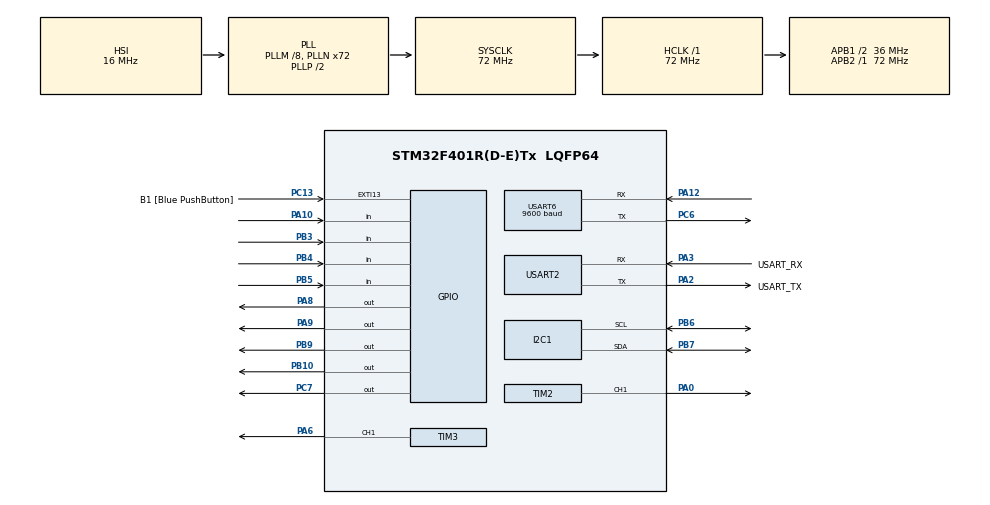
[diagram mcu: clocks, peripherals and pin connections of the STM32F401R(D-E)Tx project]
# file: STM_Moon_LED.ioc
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Dma.Request0=TIM2_CH1
Dma.Request1=TIM3_CH1/TRIG
Dma.TIM2_CH1.0.Direction=DMA_MEMORY_TO_PERIPH
Dma.TIM2_CH1.0.FIFOMode=DMA_FIFOMODE_DISABLE
Dma.TIM2_CH1.0.Instance=DMA1_Stream5
Dma.TIM2_CH1.0.MemDataAlignment=DMA_MDATAALIGN_WORD
Dma.TIM2_CH1.0.MemInc=DMA_MINC_ENABLE
Dma.TIM2_CH1.0.Mode=DMA_CIRCULAR
Dma.TIM2_CH1.0.PeriphDataAlignment=DMA_PDATAALIGN_WORD
Dma.TIM2_CH1.0.PeriphInc=DMA_PINC_DISABLE
Dma.TIM2_CH1.0.Priority=DMA_PRIORITY_LOW
Dma.TIM3_CH1/TRIG.1.Direction=DMA_MEMORY_TO_PERIPH
Dma.TIM3_CH1/TRIG.1.FIFOMode=DMA_FIFOMODE_DISABLE
Dma.TIM3_CH1/TRIG.1.Instance=DMA1_Stream4
Dma.TIM3_CH1/TRIG.1.MemDataAlignment=DMA_MDATAALIGN_WORD
Dma.TIM3_CH1/TRIG.1.MemInc=DMA_MINC_ENABLE
Dma.TIM3_CH1/TRIG.1.Mode=DMA_CIRCULAR
Dma.TIM3_CH1/TRIG.1.PeriphDataAlignment=DMA_PDATAALIGN_WORD
Dma.TIM3_CH1/TRIG.1.PeriphInc=DMA_PINC_DISABLE
Dma.TIM3_CH1/TRIG.1.Priority=DMA_PRIORITY_LOW
Mcu.Family=STM32F4
Mcu.Name=STM32F401R(D-E)Tx
Mcu.Package=LQFP64
NVIC.DMA1_Stream4_IRQn=true\:0\:0\:false\:false\:true\:false\:true
NVIC.DMA1_Stream5_IRQn=true\:0\:0\:false\:false\:true\:false\:true
NVIC.EXTI15_10_IRQn=true\:0\:0\:false\:false\:true\:true\:true
NVIC.FPU_IRQn=true\:0\:0\:false\:false\:true\:true\:false
NVIC.PriorityGroup=NVIC_PRIORITYGROUP_0
NVIC.TIM2_IRQn=true\:0\:0\:false\:false\:true\:true\:true
NVIC.USART6_IRQn=true\:0\:0\:false\:false\:true\:true\:true
PA0-WKUP.Signal=S_TIM2_CH1_ETR
PA10.GPIO_PuPd=GPIO_PULLUP
PA10.Signal=GPIO_Input
PA12.GPIO_PuPd=GPIO_NOPULL
PA12.GPIO_Speed=GPIO_SPEED_FREQ_MEDIUM
PA12.Mode=Asynchronous
PA12.Signal=USART6_RX
PA13.GPIO_Label=TMS
PA13.Mode=Serial_Wire
PA13.Signal=SYS_JTMS-SWDIO
PA14.GPIO_Label=TCK
PA14.Mode=Serial_Wire
PA14.Signal=SYS_JTCK-SWCLK
PA2.GPIO_Label=USART_TX
PA2.GPIO_Mode=GPIO_MODE_AF_PP
PA2.GPIO_PuPd=GPIO_NOPULL
PA2.GPIO_Speed=GPIO_SPEED_FREQ_LOW
PA2.Mode=Asynchronous
PA2.Signal=USART2_TX
PA3.GPIO_Label=USART_RX
PA3.GPIO_Mode=GPIO_MODE_AF_PP
PA3.GPIO_PuPd=GPIO_NOPULL
PA3.GPIO_Speed=GPIO_SPEED_FREQ_LOW
PA3.Mode=Asynchronous
PA3.Signal=USART2_RX
PA6.Signal=S_TIM3_CH1
PA8.Signal=GPIO_Output
PA9.Signal=GPIO_Output
PB10.Signal=GPIO_Output
PB3.GPIO_PuPd=GPIO_PULLUP
PB3.Signal=GPIO_Input
PB4.GPIO_PuPd=GPIO_PULLUP
PB4.Signal=GPIO_Input
PB5.GPIO_PuPd=GPIO_PULLUP
PB5.Signal=GPIO_Input
PB6.GPIO_Pu=GPIO_PULLUP
PB6.Mode=I2C
PB6.Signal=I2C1_SCL
PB7.GPIO_Pu=GPIO_PULLUP
PB7.Mode=I2C
PB7.Signal=I2C1_SDA
PB9.Signal=GPIO_Output
PC13-ANTI_TAMP.GPIO_Label=B1 [Blue PushButton]
PC13-ANTI_TAMP.GPIO_ModeDefaultEXTI=GPIO_MODE_IT_FALLING
PC13-ANTI_TAMP.GPIO_PuPd=GPIO_NOPULL
PC13-ANTI_TAMP.Signal=GPXTI13
PC14-OSC32_IN.Mode=LSE-External-Oscillator
PC14-OSC32_IN.Signal=RCC_OSC32_IN
PC15-OSC32_OUT.Mode=LSE-External-Oscillator
PC15-OSC32_OUT.Signal=RCC_OSC32_OUT
PC6.GPIO_Speed=GPIO_SPEED_FREQ_MEDIUM
PC6.Mode=Asynchronous
PC6.Signal=USART6_TX
PC7.Signal=GPIO_Output
PH0\ -\ OSC_IN.Mode=HSE-External-Clock-Source
PH0\ -\ OSC_IN.Signal=RCC_OSC_IN
PH1\ -\ OSC_OUT.Mode=HSE-External-Clock-Source
PH1\ -\ OSC_OUT.Signal=RCC_OSC_OUT
ProjectManager.HeapSize=0x200
ProjectManager.StackSize=0x400
ProjectManager.TargetToolchain=STM32CubeIDE
RCC.48MHZClocksFreq_Value=20571428.57142857
RCC.AHBFreq_Value=72000000
RCC.APB1CLKDivider=RCC_HCLK_DIV2
RCC.APB1Freq_Value=36000000
RCC.APB1TimFreq_Value=72000000
RCC.APB2Freq_Value=72000000
RCC.APB2TimFreq_Value=72000000
RCC.CortexFreq_Value=72000000
RCC.HCLKFreq_Value=72000000
RCC.HSE_VALUE=8000000
RCC.HSI_VALUE=16000000
RCC.PLLM=8
RCC.PLLN=72
RCC.PLLQ=7
RCC.SYSCLKFreq_VALUE=72000000
RCC.SYSCLKSource=RCC_SYSCLKSOURCE_PLLCLK
RCC.VCOOutputFreq_Value=144000000
SH.S_TIM2_CH1_ETR.0=TIM2_CH1,PWM Generation1 CH1
SH.S_TIM3_CH1.0=TIM3_CH1,PWM Generation1 CH1
TIM2.AutoReloadPreload=TIM_AUTORELOAD_PRELOAD_ENABLE
TIM2.Channel-PWM\ Generation1\ CH1=TIM_CHANNEL_1
TIM2.Period=90-1
TIM2.Prescaler=1-1
TIM2.Pulse-PWM\ Generation1\ CH1=1
TIM3.AutoReloadPreload=TIM_AUTORELOAD_PRELOAD_ENABLE
TIM3.Channel-PWM\ Generation1\ CH1=TIM_CHANNEL_1
TIM3.Period=90-1
TIM3.Prescaler=1-1
TIM3.Pulse-PWM\ Generation1\ CH1=1
USART2.VirtualMode=VM_ASYNC
USART6.BaudRate=9600
USART6.VirtualMode=VM_ASYNC
VP_TIM2_VS_ClockSourceINT.Mode=Internal
VP_TIM3_VS_ClockSourceINT.Mode=Internal
board=NUCLEO-F401RE

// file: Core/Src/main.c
/* USER CODE BEGIN Header */
/**
  ******************************************************************************
  * @file           : main.c
  * @brief          : Main program body
  ******************************************************************************
  * @attention
  *
  * <h2><center>&copy; Copyright (c) 2021 STMicroelectronics.
  * All rights reserved.</center></h2>
  *
  * This software component is licensed by ST under BSD 3-Clause license,
  * the "License"; You may not use this file except in compliance with the
  * License. You may obtain a copy of the License at:
  *                        opensource.org/licenses/BSD-3-Clause
  *
  ******************************************************************************
  */
/* USER CODE END Header */
#include "main.h"
#include "dma.h"
#include "i2c.h"
#include "tim.h"
#include "usart.h"
#include "gpio.h"

/* USER CODE BEGIN Includes */
#include "stdbool.h"
#include "keypad.h"
#include "LED.h"
#include "lcd16x2_i2c.h"

/* USER CODE END Includes */

/* USER CODE BEGIN PV */
bool BLUE_BUTTON = false;
/* USER CODE END PV */

void SystemClock_Config(void);

/* USER CODE BEGIN 0 */

// *******************************************************************
// 					TUTORIAL CODE
// *******************************************************************

// When DMA finishes a send triggers a flag and stops the data transfer
void HAL_TIM_PWM_PulseFinishedCallback(TIM_HandleTypeDef *htim){

	if(htim == &htim2){
		HAL_TIM_PWM_Stop_DMA(&htim2, TIM_CHANNEL_1);
	}

	if(htim == &htim3){
		HAL_TIM_PWM_Stop_DMA(&htim3, TIM_CHANNEL_1);
	}

	datasentflag = 1;
}

/* USER CODE END 0 */

int main(void)
{

  /* MCU Configuration--------------------------------------------------------*/

  /* Reset of all peripherals, Initializes the Flash interface and the Systick. */
  HAL_Init();

  /* Configure the system clock */
  SystemClock_Config();

  /* Initialize all configured peripherals */
  MX_GPIO_Init();
  MX_DMA_Init();
  MX_USART2_UART_Init();
  MX_TIM2_Init();
  MX_I2C1_Init();
  MX_TIM3_Init();
  MX_USART6_UART_Init();
  /* USER CODE BEGIN 2 */

  // *********************************************
  // 			LCD initialization
  // *********************************************
  if(lcd16x2_i2c_init(&hi2c1)){
    HAL_GPIO_WritePin(GPIOA, GPIO_PIN_5, GPIO_PIN_SET);
  }
  lcd16x2_i2c_clear();
  lcd16x2_i2c_2ndLine();
  lcd16x2_i2c_clear();
  lcd16x2_i2c_printf("      RESET       ");

  HAL_Delay(1000);

  // Enable HC 05 bluetooth module
  HAL_GPIO_WritePin(GPIOB, GPIO_PIN_9, GPIO_PIN_SET);

  // enable interrupt for the UART
  HAL_UART_Receive_IT(&huart6, buffer, 600);

  // Welcome message
  lcd16x2_i2c_clear();
  lcd16x2_i2c_2ndLine();
  lcd16x2_i2c_clear();
  lcd16x2_i2c_printf("><>   FISH   <><");
  lcd16x2_i2c_2ndLine();
  lcd16x2_i2c_printf("===   BOARD  ===");

  // Struct definition
  Problem p;			    			// struct that contains the info related to the problem
  uint32_t problemID = 0;				// ID that reppresents the number of the problem

  /* USER CODE END 2 */

  /* Infinite loop */
  /* USER CODE BEGIN WHILE */
  while (1)
  {

	  // If the blue button is pressed
	  if(BLUE_BUTTON){
		  lcd16x2_i2c_clear();							// clear the LCD display

		  problemID = keypad_getNumber();				// Listen for the key pressed on the keypad

		  if(problemID==10000){		// If pressed button is disco mode

			  DISCO_FLAG = 1;

		  }else{								// Otherwise search correct problem

			  problem_fetch(&p,problemID);		// Update the struct with teh info from the ID

			  problem_genArray(&p);				// Generate a matrix containing colors for each LED according to problem

			  // Display on led boulder info
			  lcd16x2_i2c_clear();
			  lcd16x2_i2c_printf("Name:");
			  lcd16x2_i2c_printf(p.name);
			  lcd16x2_i2c_2ndLine();
			  lcd16x2_i2c_printf("Grad:");
			  lcd16x2_i2c_printf(p.grade);

			  WS2811_Send();					// Sends to LED strip signal

			  BLUE_BUTTON = false;				// Reset blue button flag
		  }
	  }

		// If the message is received from bluetooth
	 if(BLUETOOTH_FLAG==1){

		 if(buffer[0]=='D' && buffer[1]=='I' && buffer[2]=='S' && buffer[3]=='C' && buffer[4]=='O'){
			 //DISCO_FLAG     = 1;
			 //BLUETOOTH_FLAG = 0;
		 }else{
			 MessageHandler(&p);					// Save in the struct the correct values from the string received

			 problem_genArray(&p);				// Generate matrix of color values from problem

			 WS2811_Send();						// Send PWM to LEDs

			 // Display on led boulder info
			 lcd16x2_i2c_clear();
			 lcd16x2_i2c_2ndLine();
			 lcd16x2_i2c_clear();
			 lcd16x2_i2c_printf("Name:");
			 lcd16x2_i2c_printf(p.name);
			 lcd16x2_i2c_2ndLine();
			 lcd16x2_i2c_printf("Grad:");
			 lcd16x2_i2c_printf(p.grade);

			 BLUETOOTH_FLAG=0;					// Reset bluetooth flag in order to receive again
		 }
	 }

	 if(DISCO_FLAG==1){
		 //LED_discoMode();
	 }

    /* USER CODE END WHILE */

  }
}

void SystemClock_Config(void)
{
  RCC_OscInitTypeDef RCC_OscInitStruct = {0};
  RCC_ClkInitTypeDef RCC_ClkInitStruct = {0};

  /** Configure the main internal regulator output voltage
  */
  __HAL_RCC_PWR_CLK_ENABLE();
  __HAL_PWR_VOLTAGESCALING_CONFIG(PWR_REGULATOR_VOLTAGE_SCALE2);
  /** Initializes the RCC Oscillators according to the specified parameters
  * in the RCC_OscInitTypeDef structure.
  */
  RCC_OscInitStruct.OscillatorType = RCC_OSCILLATORTYPE_HSI;
  RCC_OscInitStruct.HSIState = RCC_HSI_ON;
  RCC_OscInitStruct.HSICalibrationValue = RCC_HSICALIBRATION_DEFAULT;
  RCC_OscInitStruct.PLL.PLLState = RCC_PLL_ON;
  RCC_OscInitStruct.PLL.PLLSource = RCC_PLLSOURCE_HSI;
  RCC_OscInitStruct.PLL.PLLM = 8;
  RCC_OscInitStruct.PLL.PLLN = 72;
  RCC_OscInitStruct.PLL.PLLP = RCC_PLLP_DIV2;
  RCC_OscInitStruct.PLL.PLLQ = 7;
  if (HAL_RCC_OscConfig(&RCC_OscInitStruct) != HAL_OK)
  {
    Error_Handler();
  }
  /** Initializes the CPU, AHB and APB buses clocks
  */
  RCC_ClkInitStruct.ClockType = RCC_CLOCKTYPE_HCLK|RCC_CLOCKTYPE_SYSCLK
                              |RCC_CLOCKTYPE_PCLK1|RCC_CLOCKTYPE_PCLK2;
  RCC_ClkInitStruct.SYSCLKSource = RCC_SYSCLKSOURCE_PLLCLK;
  RCC_ClkInitStruct.AHBCLKDivider = RCC_SYSCLK_DIV1;
  RCC_ClkInitStruct.APB1CLKDivider = RCC_HCLK_DIV2;
  RCC_ClkInitStruct.APB2CLKDivider = RCC_HCLK_DIV1;

  if (HAL_RCC_ClockConfig(&RCC_ClkInitStruct, FLASH_LATENCY_2) != HAL_OK)
  {
    Error_Handler();
  }
}

/* USER CODE BEGIN 4 */
void HAL_GPIO_EXTI_Callback(uint16_t GPIO_Pin){

	// interrupt blue button
	if(GPIO_Pin==B1_Pin){
		BLUE_BUTTON = true;
	}
}

void HAL_UART_RxCpltCallback(UART_HandleTypeDef * huart){

	if(BLUETOOTH_FLAG == 0){
		BLUETOOTH_FLAG = 1;
	}

	HAL_UART_Receive_IT(&huart6, buffer, 600);

}

/* USER CODE END 4 */

void Error_Handler(void)
{
  __disable_irq();
  while (1)
  {
  }
}

/************************ (C) COPYRIGHT STMicroelectronics *****END OF FILE****/
